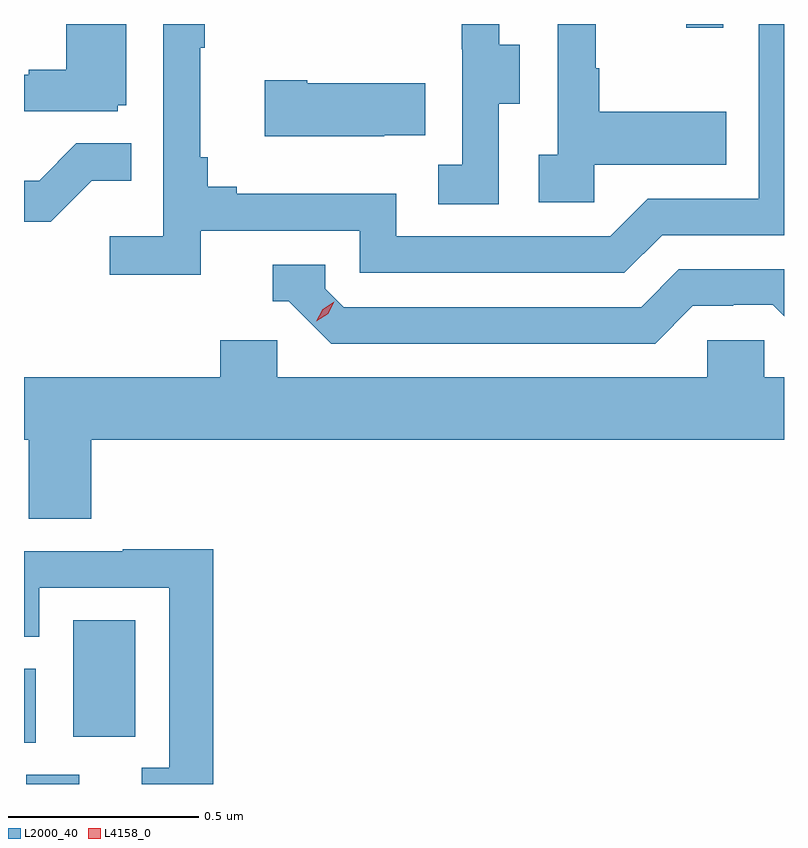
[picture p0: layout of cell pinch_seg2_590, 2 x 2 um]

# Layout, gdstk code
import gdstk
lib = gdstk.Library(unit=1e-6, precision=1e-09)
def R(c, l, rs):  # rectangles x0, y0, x1, y1
    for r in rs: c.add(gdstk.rectangle(r[:2], r[2:], *l))
def P(c, l, *ps):  # polygons
    for p in ps: c.add(gdstk.Polygon(p, *l))
L2000_40 = (2000, 40)
L4158_0 = (4158, 0)

pinch_seg2_590 = lib.new_cell('pinch_seg2_590')
R(pinch_seg2_590, L2000_40, [(1129.829,622.754,1129.969,622.778), (1129.823,622.863,1129.854,623.057), (1129.952,622.878,1130.116,623.185), (1131.566,624.744,1131.663,624.754), (1130.638,624.753,1130.785,624.754)])
P(pinch_seg2_590, L2000_40, [(1131.072,624.544),(1131.127,624.544),(1131.127,624.699),(1131.073,624.699),(1131.073,624.754),(1130.975,624.754),(1130.975,624.687),(1130.976,624.687),(1130.976,624.383),(1130.913,624.383),(1130.913,624.28),(1131.072,624.28)],
  [(1131.324,624.383),(1131.671,624.383),(1131.671,624.523),(1131.337,624.523),(1131.337,624.638),(1131.327,624.638),(1131.327,624.754),(1131.228,624.754),(1131.228,624.41),(1131.177,624.41),(1131.177,624.285),(1131.324,624.285)],
  [(1130.07,624.54),(1130.092,624.54),(1130.092,624.754),(1129.934,624.754),(1129.934,624.634),(1129.835,624.634),(1129.835,624.621),(1129.823,624.621),(1129.823,624.525),(1130.07,624.525)],
  [(1130.288,624.21),(1130.706,624.21),(1130.706,624.099),(1131.403,624.099),(1131.502,624.198),(1131.823,624.198),(1131.823,624.754),(1131.756,624.754),(1131.756,624.294),(1131.465,624.294),(1131.366,624.195),(1130.802,624.195),(1130.802,624.307),(1130.383,624.307),(1130.383,624.326),(1130.306,624.326),(1130.306,624.403),(1130.287,624.403),(1130.287,624.691),(1130.299,624.691),(1130.299,624.754),(1130.19,624.754),(1130.19,624.196),(1130.049,624.196),(1130.049,624.094),(1130.288,624.094)],
  [(1130.771,624.461),(1130.879,624.461),(1130.879,624.598),(1130.569,624.598),(1130.569,624.606),(1130.457,624.606),(1130.457,624.458),(1130.771,624.458)],
  [(1130.001,624.341),(1130.105,624.341),(1130.105,624.44),(1129.961,624.44),(1129.863,624.342),(1129.823,624.342),(1129.823,624.234),(1129.894,624.234)],
  [(1131.583,624.012),(1131.69,624.012),(1131.69,624.015),(1131.793,624.015),(1131.823,623.985),(1131.823,624.108),(1131.546,624.108),(1131.447,624.009),(1130.664,624.009),(1130.616,624.057),(1130.616,624.12),(1130.477,624.12),(1130.477,624.024),(1130.52,624.024),(1130.631,623.913),(1131.484,623.913)],
  [(1130,623.66),(1131.823,623.66),(1131.823,623.824),(1131.771,623.824),(1131.771,623.922),(1131.621,623.922),(1131.621,623.824),(1130.49,623.824),(1130.49,623.922),(1130.339,623.922),(1130.339,623.824),(1129.823,623.824),(1129.823,623.66),(1129.835,623.66),(1129.835,623.452),(1130,623.452)],
  [(1130.321,623.372),(1130.083,623.372),(1130.083,623.367),(1129.823,623.367),(1129.823,623.142),(1129.863,623.142),(1129.863,623.271),(1130.205,623.271),(1130.205,622.797),(1130.133,622.797),(1130.133,622.754),(1130.321,622.754)])
P(pinch_seg2_590, L4158_0, [(1130.592,623.972),(1130.592,623.972),(1130.609,624.004),(1130.64,624.023),(1130.64,624.023),(1130.64,624.023),(1130.623,623.991),(1130.592,623.972)])

lib.write_gds('pinch_seg2_590.gds')
